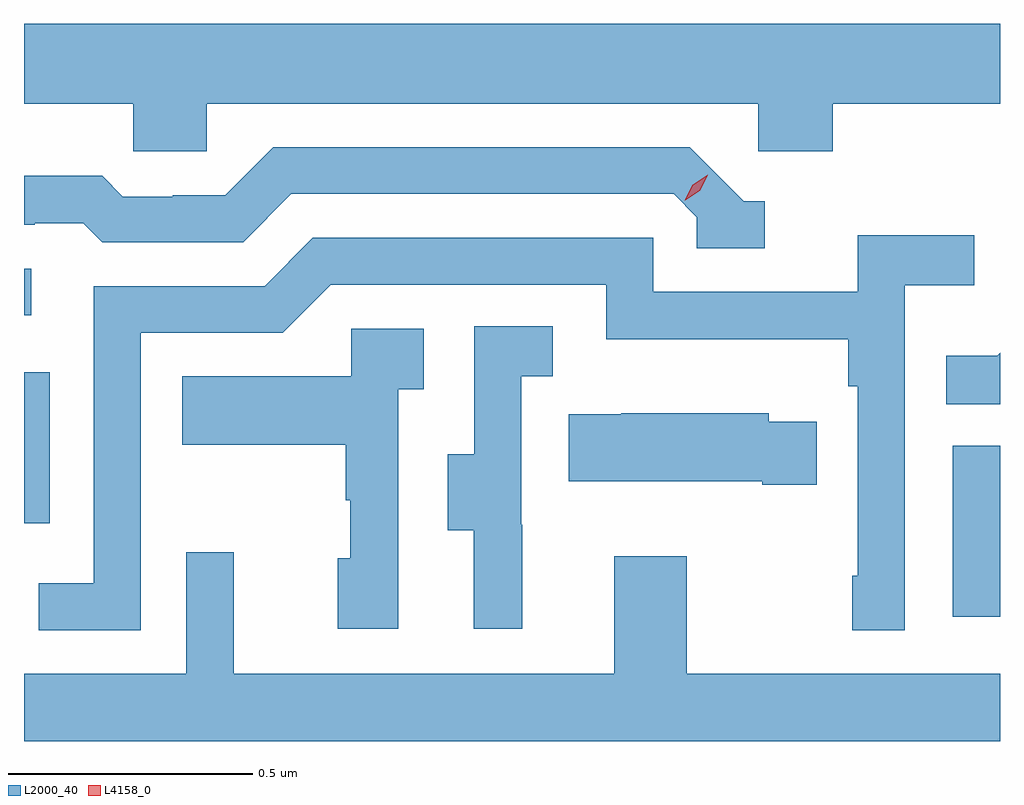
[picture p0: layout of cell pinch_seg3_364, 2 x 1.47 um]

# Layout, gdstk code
import gdstk
lib = gdstk.Library(unit=1e-6, precision=1e-09)
def R(c, l, rs):  # rectangles x0, y0, x1, y1
    for r in rs: c.add(gdstk.rectangle(r[:2], r[2:], *l))
def P(c, l, *ps):  # polygons
    for p in ps: c.add(gdstk.Polygon(p, *l))
L2000_40 = (2000, 40)
L4158_0 = (4158, 0)

pinch_seg3_364 = lib.new_cell('pinch_seg3_364')
R(pinch_seg3_364, L2000_40, [(987.632,705.192,987.729,705.543), (985.729,705.384,985.782,705.694), (985.729,705.81,985.744,705.906)])
P(pinch_seg3_364, L2000_40, [(986.103,706.244),(987.234,706.244),(987.234,706.146),(987.386,706.146),(987.386,706.244),(987.729,706.244),(987.729,706.408),(985.729,706.408),(985.729,706.244),(985.953,706.244),(985.953,706.146),(986.103,706.146)],
  [(987.247,706.044),(987.204,706.044),(987.093,706.155),(986.24,706.155),(986.141,706.056),(986.034,706.056),(986.034,706.053),(985.931,706.053),(985.889,706.096),(985.729,706.096),(985.729,705.996),(985.751,705.996),(985.751,705.999),(985.85,705.999),(985.889,705.96),(986.178,705.96),(986.277,706.059),(987.06,706.059),(987.108,706.011),(987.108,705.948),(987.247,705.948)],
  [(985.968,705.774),(986.259,705.774),(986.358,705.873),(986.922,705.873),(986.922,705.761),(987.418,705.761),(987.418,705.665),(987.438,705.665),(987.438,705.277),(987.426,705.277),(987.426,705.165),(987.534,705.165),(987.534,705.872),(987.676,705.872),(987.676,705.974),(987.437,705.974),(987.437,705.858),(987.018,705.858),(987.018,705.969),(986.321,705.969),(986.222,705.87),(985.872,705.87),(985.872,705.261),(985.759,705.261),(985.759,705.165),(985.968,705.165)],
  [(986.75,705.381),(986.748,705.381),(986.748,705.685),(986.812,705.685),(986.812,705.788),(986.652,705.788),(986.652,705.525),(986.597,705.525),(986.597,705.37),(986.651,705.37),(986.651,705.168),(986.75,705.168)],
  [(986.496,705.659),(986.548,705.659),(986.548,705.783),(986.4,705.783),(986.4,705.685),(986.053,705.685),(986.053,705.545),(986.388,705.545),(986.388,705.431),(986.398,705.431),(986.398,705.312),(986.372,705.312),(986.372,705.168),(986.496,705.168)],
  [(987.729,705.733),(987.723,705.727),(987.619,705.727),(987.619,705.628),(987.729,705.628)],
  [(987.353,705.592),(987.255,705.592),(987.255,705.61),(986.953,705.61),(986.953,705.607),(986.845,705.607),(986.845,705.47),(987.242,705.47),(987.242,705.463),(987.353,705.463)],
  [(987.729,705.076),(987.087,705.076),(987.087,705.316),(986.939,705.316),(986.939,705.076),(986.159,705.076),(986.159,705.325),(986.061,705.325),(986.061,705.076),(985.729,705.076),(985.729,704.937),(987.729,704.937)])
P(pinch_seg3_364, L4158_0, [(987.083,706.046),(987.083,706.046),(987.099,706.078),(987.13,706.098),(987.13,706.098),(987.13,706.097),(987.114,706.065),(987.084,706.046)])

lib.write_gds('pinch_seg3_364.gds')
